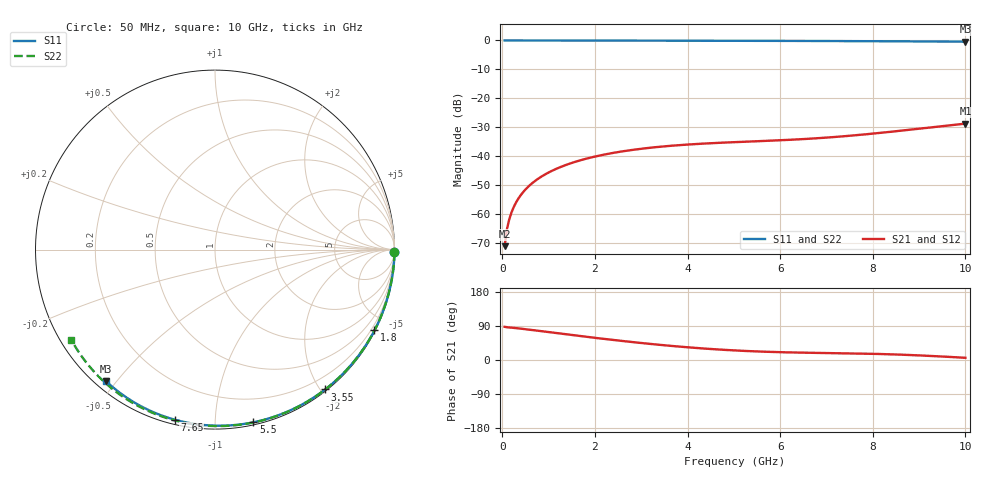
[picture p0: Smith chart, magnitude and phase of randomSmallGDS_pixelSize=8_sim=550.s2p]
! freq	dB(S11)	phase(S11)	dB(S12)	phase(S12)
!  dB(S21)	phase(S21)	dB(S22)	phase(S22)
!S-par simulation data
#  GHz  S  DB  R 50
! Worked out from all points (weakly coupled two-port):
!   200 points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, 50 MHz to 10 GHz, reference 50 ohm
!   highest |S21| = -28.70 dB at 10 GHz (marker M1); lowest = -71.0 dB at 50 MHz (marker M2)
!   lowest |S11| = -0.4 dB at 10 GHz (marker M3), VSWR 40.48, Z = 1.51 - j23.6 ohm
!   |S11| at or under -10 dB: nowhere
!   |S22| runs from -0.5 to 0.0 dB; largest |S21 - S12| = 0
!   S11 on the Smith chart (normalised r, x): 50 MHz: open; 1.8 GHz: 0.04, -4.19; 3.55 GHz: 0.02, -2.06; 5.5 GHz: 0.02, -1.25; 7.65 GHz: 0.02, -0.79; 10 GHz: 0.03, -0.47
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0.05  -0.00 -0.8  -70.99 87.6  -70.99 87.6  -0.00 -0.9
0.1  -0.00 -1.5  -65.15 86.5  -65.15 86.5  -0.00 -1.8
0.15  -0.00 -2.3  -61.73 86.0  -61.73 86.0  -0.00 -2.6
0.2  -0.00 -3.0  -59.29 85.4  -59.29 85.4  -0.00 -3.5
0.25  -0.00 -3.8  -57.38 84.8  -57.38 84.8  -0.00 -4.4
0.35  -0.00 -5.3  -54.50 83.5  -54.50 83.5  -0.00 -6.1
0.5  -0.01 -7.6  -51.44 81.3  -51.44 81.3  -0.01 -8.7
0.7  -0.01 -10.6  -48.56 78.3  -48.56 78.3  -0.01 -12.2
1  -0.02 -15.1  -45.56 73.6  -45.56 73.6  -0.02 -17.4
1.35  -0.03 -20.2  -43.10 68.2  -43.10 68.2  -0.03 -23.4
1.75  -0.03 -26.1  -41.07 62.2  -41.07 62.2  -0.04 -30.1
1.8  -0.03 -26.9  -40.85 61.5  -40.85 61.5  -0.04 -31.0
2.5  -0.05 -37.0  -38.51 51.4  -38.51 51.4  -0.06 -42.6
3.4  -0.07 -49.7  -36.69 40.0  -36.69 40.0  -0.08 -57.0
3.55  -0.07 -51.7  -36.47 38.3  -36.47 38.3  -0.08 -59.4
4.3  -0.09 -61.9  -35.63 30.7  -35.63 30.7  -0.10 -70.9
5.05  -0.11 -71.7  -35.06 25.0  -35.06 25.0  -0.13 -82.0
5.5  -0.13 -77.5  -34.78 22.6  -34.78 22.6  -0.14 -88.5
6.7  -0.18 -92.2  -33.85 19.0  -33.85 19.0  -0.20 -105.1
7.65  -0.23 -103.4  -32.68 17.2  -32.68 17.2  -0.27 -117.7
8.35  -0.28 -111.3  -31.58 15.2  -31.58 15.2  -0.32 -126.8
10  -0.43 -129.5  -28.70 5.8  -28.70 5.8  -0.49 -148.0
